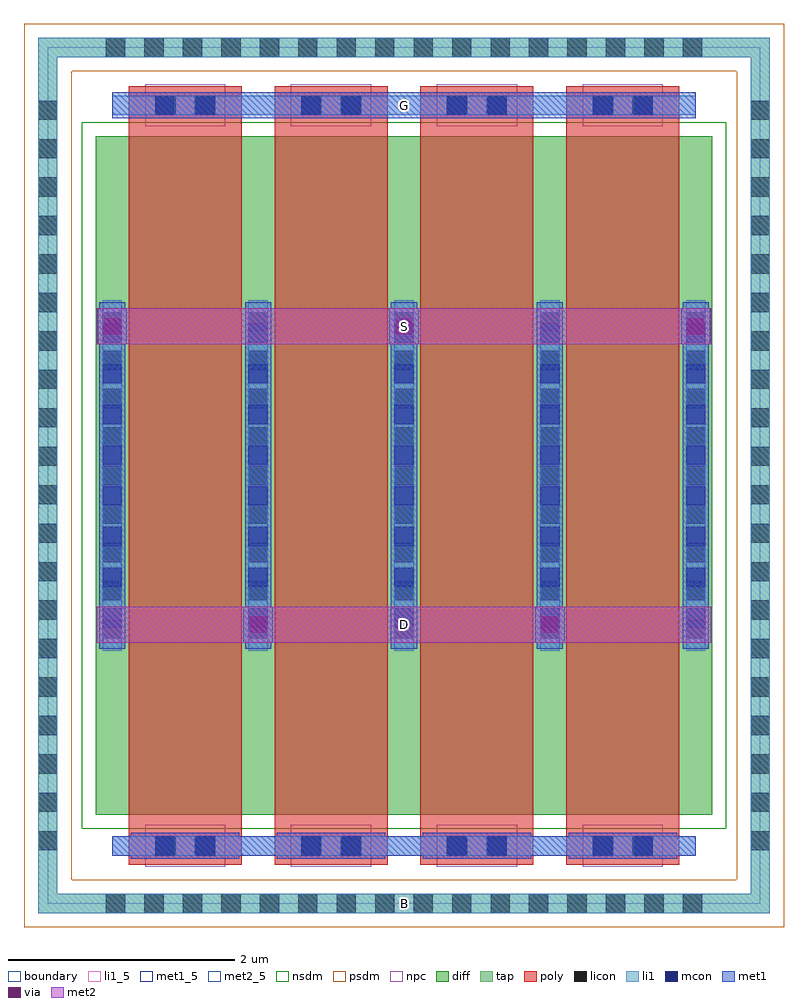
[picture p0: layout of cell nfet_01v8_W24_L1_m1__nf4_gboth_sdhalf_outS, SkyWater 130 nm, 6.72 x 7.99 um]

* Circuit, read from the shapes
.subckt nfet_01v8_W24_L1_m1__nf4_gboth_sdhalf_outS B D G S
XM1 D G S B sky130_fd_pr__nfet_01v8 w=6 l=1 m=4
.ends

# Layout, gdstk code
import gdstk
lib = gdstk.Library(unit=1e-6, precision=1e-09)
def R(c, l, rs):  # rectangles x0, y0, x1, y1
    for r in rs: c.add(gdstk.rectangle(r[:2], r[2:], *l))
def A(c, l, x, y, w, h, nx, ny, dx, dy):  # array of equal rectangles
    R(c, l, [(x+i*dx, y+j*dy, x+i*dx+w, y+j*dy+h) for i in range(nx) for j in range(ny)])
diff = (65, 20)
tap = (65, 44)
poly = (66, 20)
licon = (66, 44)
li1_5 = (67, 5)
li1 = (67, 20)
mcon = (67, 44)
met1_5 = (68, 5)
met1 = (68, 20)
via = (68, 44)
met2_5 = (69, 5)
met2 = (69, 20)
nsdm = (93, 44)
psdm = (94, 20)
npc = (95, 20)
boundary = (235, 4)

sky130_fd_pr__nfet_01v8_ = lib.new_cell('sky130_fd_pr__nfet_01v8_USXNRX')
R(sky130_fd_pr__nfet_01v8_, diff, [(-2.725,-3,2.725,3)])
R(sky130_fd_pr__nfet_01v8_, tap, [(-3.235,-3.87,3.235,-3.7), (-3.235,-3.7,-3.065,3.7), (3.065,-3.7,3.235,3.7), (-3.235,3.7,3.235,3.87)])
A(sky130_fd_pr__nfet_01v8_, poly, -2.435, -3.44, 1, 6.88, 4, 1, 1.29, 0)
A(sky130_fd_pr__nfet_01v8_, licon, -2.635, -3.87, 0.17, 0.17, 16, 2, 0.34, 7.57)
A(sky130_fd_pr__nfet_01v8_, licon, -3.235, -3.315, 0.17, 0.17, 1, 20, 0, 0.34)
A(sky130_fd_pr__nfet_01v8_, licon, 3.065, -3.315, 0.17, 0.17, 1, 20, 0, 0.34)
A(sky130_fd_pr__nfet_01v8_, licon, -2.665, -1.445, 0.17, 0.17, 5, 9, 1.29, 0.34)
R(sky130_fd_pr__nfet_01v8_, licon, [(-2.19,-3.36,-2.02,-3.19), (-1.85,-3.36,-1.68,-3.19), (-0.9,-3.36,-0.73,-3.19), (-0.56,-3.36,-0.39,-3.19), (0.39,-3.36,0.56,-3.19), (0.73,-3.36,0.9,-3.19), (1.68,-3.36,1.85,-3.19), (2.02,-3.36,2.19,-3.19), (-2.19,3.19,-2.02,3.36), (-1.85,3.19,-1.68,3.36), (-0.9,3.19,-0.73,3.36), (-0.56,3.19,-0.39,3.36), (0.39,3.19,0.56,3.36), (0.73,3.19,0.9,3.36), (1.68,3.19,1.85,3.36), (2.02,3.19,2.19,3.36)])
A(sky130_fd_pr__nfet_01v8_, li1, -2.665, -1.55, 0.17, 3.1, 5, 1, 1.29, 0)
R(sky130_fd_pr__nfet_01v8_, li1, [(-3.235,-3.87,3.235,-3.7), (-3.235,-3.7,-3.065,3.7), (3.065,-3.7,3.235,3.7), (-2.58,-3.36,2.58,-3.19), (-2.58,3.19,2.58,3.36), (-3.235,3.7,3.235,3.87)])
A(sky130_fd_pr__nfet_01v8_, mcon, -2.665, -1.345, 0.17, 0.17, 5, 8, 1.29, 0.36)
R(sky130_fd_pr__nfet_01v8_, mcon, [(-2.2,-3.36,-2.03,-3.19), (-1.84,-3.36,-1.67,-3.19), (-0.91,-3.36,-0.74,-3.19), (-0.55,-3.36,-0.38,-3.19), (0.38,-3.36,0.55,-3.19), (0.74,-3.36,0.91,-3.19), (1.67,-3.36,1.84,-3.19), (2.03,-3.36,2.2,-3.19), (-2.2,3.19,-2.03,3.36), (-1.84,3.19,-1.67,3.36), (-0.91,3.19,-0.74,3.36), (-0.55,3.19,-0.38,3.36), (0.38,3.19,0.55,3.36), (0.74,3.19,0.91,3.36), (1.67,3.19,1.84,3.36), (2.03,3.19,2.2,3.36)])
A(sky130_fd_pr__nfet_01v8_, met1, -2.415, -3.39, 0.96, 0.03, 4, 2, 1.29, 0.2)
A(sky130_fd_pr__nfet_01v8_, met1, -2.695, -1.53, 0.23, 3.06, 5, 1, 1.29, 0)
A(sky130_fd_pr__nfet_01v8_, met1, -2.415, 3.16, 0.96, 0.03, 4, 2, 1.29, 0.2)
R(sky130_fd_pr__nfet_01v8_, met1, [(-2.58,-3.36,2.58,-3.19), (-2.58,3.19,2.58,3.36)])
R(sky130_fd_pr__nfet_01v8_, nsdm, [(-2.85,-3.125,2.85,3.125)])
R(sky130_fd_pr__nfet_01v8_, psdm, [(-3.36,-3.995,3.36,-3.575), (-3.36,-3.575,-2.94,3.575), (2.94,-3.575,3.36,3.575), (-3.36,3.575,3.36,3.995)])
A(sky130_fd_pr__nfet_01v8_, npc, -2.29, -3.46, 0.71, 0.37, 4, 2, 1.29, 6.55)
R(sky130_fd_pr__nfet_01v8_, boundary, [(-3.15,-3.785,3.15,3.785)])
sky130_fd_pr__nfet_01v8_.add(gdstk.Label('B', (0,-3.785), layer=67, texttype=5))
sky130_fd_pr__nfet_01v8_.add(gdstk.Label('D0', (-2.58,0), layer=67, texttype=5))
sky130_fd_pr__nfet_01v8_.add(gdstk.Label('G', (1.935,3.275), layer=67, texttype=5))
sky130_fd_pr__nfet_01v8_.add(gdstk.Label('G', (0.645,3.275), layer=67, texttype=5))
sky130_fd_pr__nfet_01v8_.add(gdstk.Label('G', (-0.645,3.275), layer=67, texttype=5))
sky130_fd_pr__nfet_01v8_.add(gdstk.Label('G', (-1.935,3.275), layer=67, texttype=5))
sky130_fd_pr__nfet_01v8_.add(gdstk.Label('S1', (-1.29,0), layer=67, texttype=5))
sky130_fd_pr__nfet_01v8_.add(gdstk.Label('D2', (0,0), layer=67, texttype=5))
sky130_fd_pr__nfet_01v8_.add(gdstk.Label('S3', (1.29,0), layer=67, texttype=5))

nfet_01v8_w24_l1_m1__nf4 = lib.new_cell('nfet_01v8_W24_L1_m1__nf4_gboth_sdhalf_outS')
R(nfet_01v8_w24_l1_m1__nf4, li1_5, [(3.065,-0.085,3.235,0.085)])
R(nfet_01v8_w24_l1_m1__nf4, li1, [(3.065,-0.085,3.235,0.085)])
R(nfet_01v8_w24_l1_m1__nf4, met1_5, [(0.57,6.945,5.73,7.175)])
A(nfet_01v8_w24_l1_m1__nf4, met1, 0.44, 4.945, 0.26, 0.32, 3, 1, 2.58, 0)
R(nfet_01v8_w24_l1_m1__nf4, met1, [(1.73,2.305,1.99,2.625), (4.31,2.305,4.57,2.625), (0.57,6.945,5.73,7.175)])
A(nfet_01v8_w24_l1_m1__nf4, via, 0.495, 5.03, 0.15, 0.15, 3, 1, 2.58, 0)
R(nfet_01v8_w24_l1_m1__nf4, via, [(1.785,2.39,1.935,2.54), (4.365,2.39,4.515,2.54)])
R(nfet_01v8_w24_l1_m1__nf4, met2_5, [(0.435,2.305,5.865,2.625), (0.435,4.945,5.865,5.265)])
R(nfet_01v8_w24_l1_m1__nf4, met2, [(0.435,2.305,5.865,2.625), (0.435,4.945,5.865,5.265)])
nfet_01v8_w24_l1_m1__nf4.add(gdstk.Reference(sky130_fd_pr__nfet_01v8_, (3.15,3.785)))
nfet_01v8_w24_l1_m1__nf4.add(gdstk.Label('S', (3.15,5.105), layer=69, texttype=5))
nfet_01v8_w24_l1_m1__nf4.add(gdstk.Label('D', (3.15,2.465), layer=69, texttype=5))
nfet_01v8_w24_l1_m1__nf4.add(gdstk.Label('G', (3.15,7.06), layer=68, texttype=5))
nfet_01v8_w24_l1_m1__nf4.add(gdstk.Label('B', (3.15,0), layer=67, texttype=5))

lib.write_gds('nfet_01v8_W24_L1_m1__nf4_gboth_sdhalf_outS.gds')
